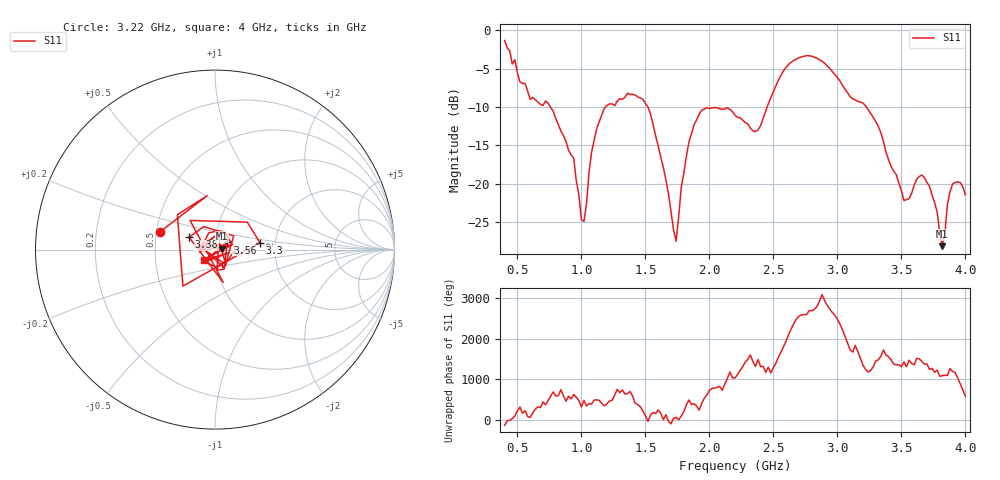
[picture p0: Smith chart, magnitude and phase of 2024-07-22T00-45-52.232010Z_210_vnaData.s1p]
!Created with skrf (http://scikit-rf.org).
# Hz S RI R 50.0
!freq ReS11 ImS11
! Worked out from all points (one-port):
!   181 points, 400 MHz to 4 GHz, reference 50 ohm
!   lowest |S11| = -28.2 dB at 3.82 GHz (marker M1), VSWR 1.08, Z = 54 + j0.649 ohm
!   |S11| at or under -10 dB: 757.8 MHz to 1.188 GHz (430.5 MHz wide, 44.2 % of centre); 1.52 GHz to 2.452 GHz (931.4 MHz wide, 46.9 % of centre); 3.226 GHz to end of sweep
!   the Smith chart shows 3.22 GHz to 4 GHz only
!   S11 on the Smith chart (normalised r, x): 3.22 GHz: 0.52, +0.12; 3.3 GHz: 1.66, +0.14; 3.38 GHz: 0.74, +0.10; 3.56 GHz: 1.14, +0.09; 4 GHz: 0.87, -0.10
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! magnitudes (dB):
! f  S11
! 400 MHz  -1.3
! 600 MHz  -9.0
! 740 MHz  -9.5
! 860 MHz  -13.7
! 940 MHz  -16.7
! 1 GHz  -24.7
! 1.02 GHz  -24.9
! 1.12 GHz  -12.8
! 1.3 GHz  -8.9
! 1.52 GHz  -10.0
! 1.74 GHz  -27.5
! 1.76 GHz  -24.3
! 1.84 GHz  -14.6
! 1.92 GHz  -11.0
! 2.2 GHz  -11.1
! 2.38 GHz  -13.0
! 2.66 GHz  -3.9
! 2.88 GHz  -4.0
! 3.1 GHz  -8.7
! 3.22 GHz  -9.9
! 3.3 GHz  -11.9
! 3.38 GHz  -15.9
! 3.56 GHz  -22.0
! 3.68 GHz  -19.2
! 3.78 GHz  -23.7
! 3.82 GHz  -28.2
! 3.9 GHz  -20.0
! 4 GHz  -21.4
